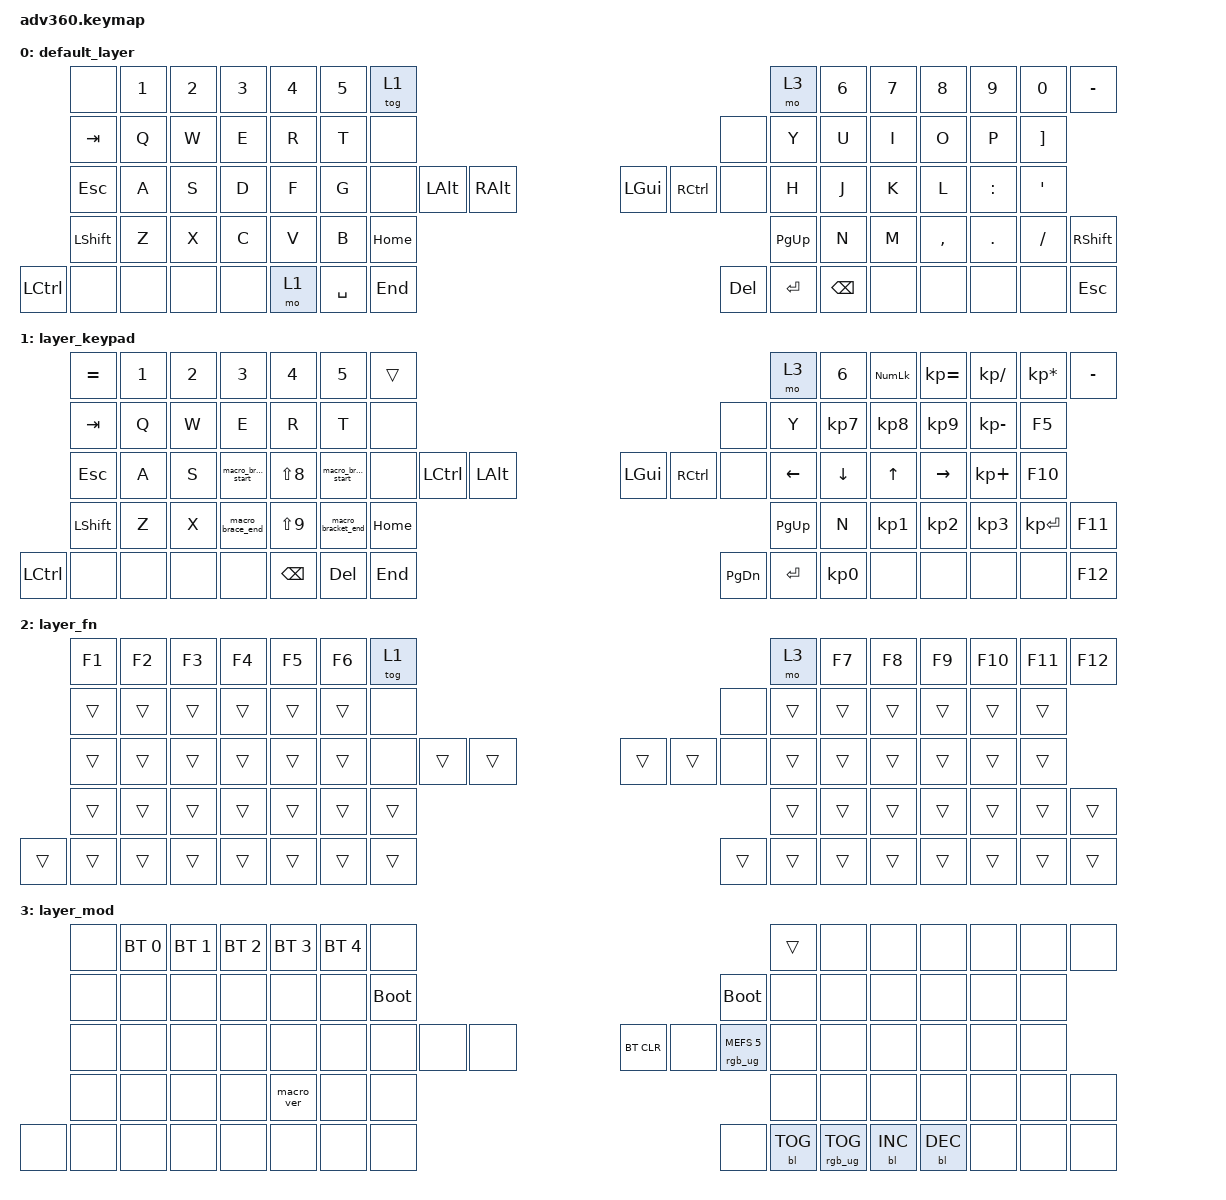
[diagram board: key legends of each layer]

/*
 * Copyright (c) 2020 The ZMK Contributors
 *
 * SPDX-License-Identifier: MIT
 */


/* THIS FILE WAS GENERATED!
 *
 * This file was generated automatically. You may or may not want to
 * edit it directly.
 */

#include <behaviors.dtsi>
#include <dt-bindings/zmk/keys.h>
#include <dt-bindings/zmk/bt.h>
#include <dt-bindings/zmk/rgb.h>
#include <dt-bindings/zmk/backlight.h>

/ {
  behaviors {
    #include "macros.dtsi"
    #include "version.dtsi"

    hm: homerow_mods {
        compatible = "zmk,behavior-hold-tap";
        label = "HOMEROW_MODS";
        #binding-cells = <2>;
        tapping-term-ms = <200>;
        quick_tap_ms = <175>;
        flavor = "tap-preferred";
        bindings = <&kp>, <&kp>;
    };
  };

    keymap {
        compatible = "zmk,keymap";


        default_layer {
            bindings = <
            &none  &kp N1  &kp N2  &kp N3  &kp N4  &kp N5            &tog 1                                                                     &mo 3  &kp N6  &kp N7     &kp N8   &kp N9     &kp N0          &kp MINUS
          &kp TAB   &kp Q   &kp W   &kp E   &kp R   &kp T             &none                                                                     &none   &kp Y   &kp U      &kp I    &kp O      &kp P  &kp RIGHT_BRACKET
          &kp ESC   &kp A   &kp S   &kp D   &kp F   &kp G             &none   &kp LALT  &kp RALT                   &kp LGUI  &kp RCTRL          &none   &kp H   &kp J      &kp K    &kp L  &kp COLON   &kp SINGLE_QUOTE
        &kp LSHFT   &kp Z   &kp X   &kp C   &kp V   &kp B                               &kp HOME                  &kp PG_UP                             &kp N   &kp M  &kp COMMA  &kp DOT   &kp FSLH          &kp RSHFT
 &kp LEFT_CONTROL   &none   &none   &none   &none                     &mo 1  &kp SPACE   &kp END                    &kp DEL  &kp ENTER  &kp BACKSPACE           &none      &none    &none      &none            &kp ESC
            >;
        };

        layer_keypad {
            bindings = <
        &kp EQUAL  &kp N1  &kp N2              &kp N3      &kp N4                &kp N5              &trans                                                                 &mo 3          &kp N6      &kp KP_NUM  &kp KP_EQUAL    &kp KP_DIVIDE  &kp KP_MULTIPLY  &kp MINUS
          &kp TAB   &kp Q   &kp W               &kp E       &kp R                 &kp T               &none                                                                 &none           &kp Y       &kp KP_N7     &kp KP_N8        &kp KP_N9     &kp KP_MINUS     &kp F5
          &kp ESC   &kp A   &kp S  &macro_brace_start  &kp LS(N8)  &macro_bracket_start               &none  &kp LCTRL  &kp LALT                   &kp LGUI  &kp RCTRL      &none  &kp LEFT_ARROW  &kp DOWN_ARROW  &kp UP_ARROW  &kp RIGHT_ARROW      &kp KP_PLUS    &kp F10
        &kp LSHFT   &kp Z   &kp X    &macro_brace_end  &kp LS(N9)    &macro_bracket_end                                 &kp HOME                  &kp PG_UP                                 &kp N       &kp KP_N1     &kp KP_N2        &kp KP_N3     &kp KP_ENTER    &kp F11
 &kp LEFT_CONTROL   &none   &none               &none       &none                                  &kp BSPC    &kp DEL   &kp END                  &kp PG_DN  &kp ENTER  &kp KP_N0                           &none         &none            &none            &none    &kp F12
            >;
        };

        layer_fn {
            bindings = <
 &kp F1  &kp F2  &kp F3  &kp F4  &kp F5  &kp F6            &tog 1                                                   &mo 3  &kp F7  &kp F8  &kp F9  &kp F10  &kp F11  &kp F12
 &trans  &trans  &trans  &trans  &trans  &trans             &none                                                   &none  &trans  &trans  &trans   &trans   &trans   &trans
 &trans  &trans  &trans  &trans  &trans  &trans             &none  &trans  &trans                  &trans  &trans   &none  &trans  &trans  &trans   &trans   &trans   &trans
 &trans  &trans  &trans  &trans  &trans  &trans                            &trans                  &trans                  &trans  &trans  &trans   &trans   &trans   &trans
 &trans  &trans  &trans  &trans  &trans                    &trans  &trans  &trans                  &trans  &trans  &trans          &trans  &trans   &trans   &trans   &trans
            >;
        };

        layer_mod {
            bindings = <
  &none  &bt BT_SEL 0  &bt BT_SEL 1  &bt BT_SEL 2  &bt BT_SEL 3  &bt BT_SEL 4                  &none                                                                          &trans   &none       &none       &none   &none   &none   &none
  &none         &none         &none         &none         &none         &none            &bootloader                                                                     &bootloader   &none       &none       &none   &none   &none   &none
  &none         &none         &none         &none         &none         &none                  &none   &none   &none                  &bt BT_CLR       &none  &rgb_ug RGB_MEFS_CMD 5   &none       &none       &none   &none   &none   &none
  &none         &none         &none         &none    &macro_ver         &none                                  &none                       &none                                       &none       &none       &none   &none   &none   &none
  &none         &none         &none         &none         &none                                &none   &none   &none                       &none  &bl BL_TOG         &rgb_ug RGB_TOG          &bl BL_INC  &bl BL_DEC   &none   &none   &none
            >;
        };

    };
};
